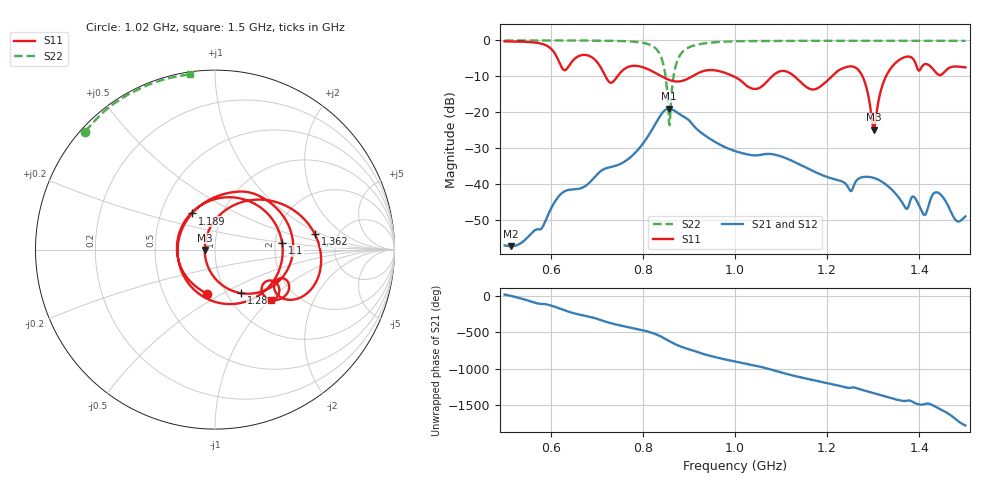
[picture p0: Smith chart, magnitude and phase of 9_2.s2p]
! TOUCHSTONE file generated by CST MICROWAVE STUDIO
! Date and time: Mon Nov 30 09:06:45 2020
! Project name: Scenario_1_Planar_Body_Tissue_Out_of_Line_v2.cst
! Parameters = {dy1=-207.6; L_HA=400; Ltissue=700; MT=2.54; Rad_Dielectric=30; Rad_Lower=7.3; Rad_Upper=30; Wtissue=700; a_HA=580; a_WG=246; b_HA=500; b_WG=121; c_HA=0; c_WG=187; d_feed=85; dx1=346; h_feed=15; h_lower=18; h_upper=40; hfat=3; hgap=25; hmuscle=50; hskin=1.5}
! Header version: 2018
! Port assignment regex: !\s*Touchstone port\s*([0-9]+)\s*=\s*(CST MWS port|CST DS port)\s*([0-9]+|Zmin|Zmax)\s*\(\"(.*)\"\)(\s*mode\s*([0-9]+))?.*
! Touchstone port assignment:
! Touchstone port 1 = CST MWS port 1 ("")
! Touchstone port 2 = CST MWS port 2 ("")
# GHz S DB R 50
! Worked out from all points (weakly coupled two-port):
!   1003 points, 500 MHz to 1.5 GHz, reference 50 ohm
!   highest |S21| = -18.96 dB at 857 MHz (marker M1); lowest = -57.2 dB at 513 MHz (marker M2)
!   lowest |S11| = -24.8 dB at 1.301 GHz (marker M3), VSWR 1.12, Z = 44.6 - j0.195 ohm
!   |S11| at or under -10 dB: 841.1 MHz to 906.8 MHz (65.67 MHz wide, 7.51 % of centre); 997.3 MHz to 1.08 GHz (82.98 MHz wide, 7.99 % of centre); 1.129 GHz to 1.21 GHz (81.07 MHz wide, 6.93 % of centre)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
!   |S22| runs from -23.5 to 0.0 dB; largest |S21 - S12| = 2.2e-06
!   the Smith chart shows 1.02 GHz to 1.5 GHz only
!   S11 on the Smith chart (normalised r, x): 1.02 GHz: 0.82, -0.43; 1.1 GHz: 2.18, +0.19; 1.189 GHz: 0.72, +0.31; 1.28 GHz: 1.17, -0.61; 1.362 GHz: 3.35, +0.84; 1.5 GHz: 1.49, -1.03
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0.5  -0.25 -121.8  -56.94 20.2  -56.94 20.2  -0.01 151.1
0.513  -0.28 -127.0  -57.16 3.0  -57.16 3.0  -0.01 150.3
0.667  -4.09 157.2  -41.00 98.3  -41.00 98.3  -0.04 138.4
0.717  -9.50 32.6  -35.67 12.7  -35.67 12.7  -0.09 132.7
0.742  -10.46 -98.2  -34.78 -31.3  -34.78 -31.3  -0.14 128.9
0.771  -7.24 174.5  -32.68 -70.2  -32.68 -70.2  -0.28 122.9
0.834  -9.50 41.5  -21.71 179.8  -21.71 179.8  -3.18 83.4
0.857  -10.96 -15.3  -18.96 102.3  -18.96 102.3  -23.06 -25.5
0.895  -10.80 -130.3  -21.67 -1.9  -21.67 -1.9  -2.25 171.2
0.94  -8.28 86.3  -26.84 -90.8  -26.84 -90.8  -0.71 151.8
1  -10.17 -55.8  -30.73 -178.7  -30.73 -178.7  -0.25 140.3
1.02  -12.03 -99.7  -31.46 155.3  -31.46 155.3  -0.20 137.7
1.073  -10.94 88.1  -31.51 79.6  -31.51 79.6  -0.15 132.2
1.1  -8.50 5.6  -32.21 31.4  -32.21 31.4  -0.12 129.8
1.167  -13.61 -178.2  -36.15 -69.7  -36.15 -69.7  -0.10 124.2
1.189  -12.44 122.5  -37.41 -98.5  -37.41 -98.5  -0.09 122.5
1.248  -7.22 11.3  -41.37 178.3  -41.37 178.3  -0.08 118.0
1.28  -10.97 -59.1  -37.91 144.3  -37.91 144.3  -0.09 115.6
1.301  -24.80 -177.8  -38.19 106.6  -38.19 106.6  -0.09 114.1
1.334  -8.53 48.1  -40.71 46.9  -40.71 46.9  -0.08 111.6
1.362  -4.99 8.7  -44.88 3.2  -44.88 3.2  -0.09 109.4
1.5  -7.48 -42.0  -48.88 23.7  -48.88 23.7  -0.13 98.0
